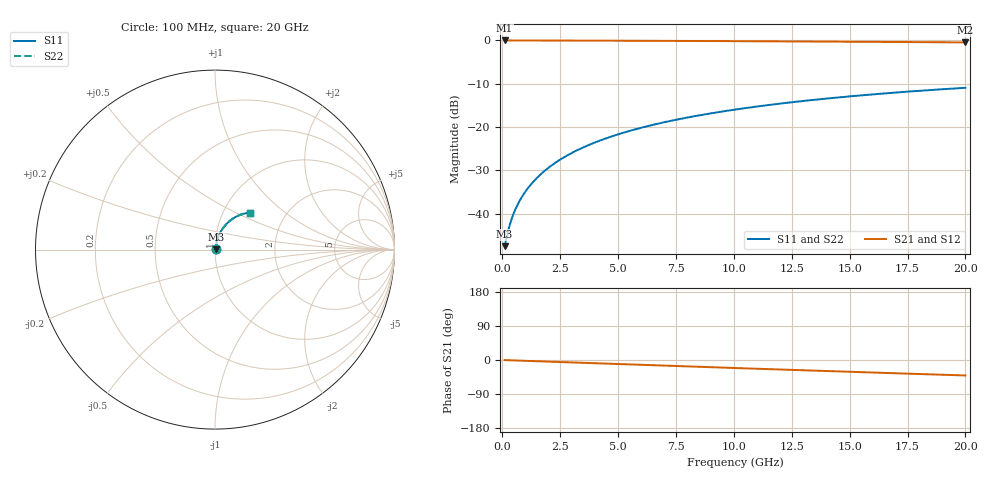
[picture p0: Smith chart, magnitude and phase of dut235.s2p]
! Touchstone file exported from HFSS 2026.1.0
!  File:  C:/ffzhzh/LocalFiles/Ansys_Project_Files/temp_train_TMRDL_235_1782984561_45328.aedt
!  Generated:  05:30:29 PM Jul  2, 2026
!  Design:  TMRDL
!  Project:  temp_train_TMRDL_235_1782984561_45328
! Variables:
!  h_bsmrdl = 2um
!  h_ox = 20um
!  h_rdl = 5um
!  h_sub = 80um
!  h_tmrdl = 2.71um
!  h_tsv = 80um
!  h_via = 3um
!  l_bsmrdl = 300um
!  l_sub = 1043.27um
!  l_tmrdl = 643.27um
!  m_sub = 200um
!  pitch = 39.96um
!  r_tsv = 6um
!  s_tmrdl = 10um
!  w_bsmrdl = 18um
!  w_sub = 500um
!  w_tmrdl = 24.44um
!  x_tsv_center1 = 655.49um
!  x_tsv_center2 = 973.49um
!  x_tsv_center3 = 1641.2um
!  x_tsv_center4 = 1959.2um
!  x_tsv_center5 = 2626.91um
!  x_tsv_center6 = 2944.91um
# GHz S MA R 50.000000
! Terminal data exported
! Port[1] = TM_RDL1_1_T1
! Port[2] = TM_RDL1_1_T2
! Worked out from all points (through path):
!   200 points, 100 MHz to 20 GHz, reference 50 ohm
!   highest |S21| = -0.03 dB at 100 MHz (marker M1); lowest = -0.5 dB at 20 GHz (marker M2)
!   group delay of S21, straight-line fit = 5.67 ps
!   lowest |S11| = -47.5 dB at 100 MHz (marker M3), VSWR 1.01, Z = 50.4 + j0.201 ohm
!   |S11| at or under -10 dB: start of sweep to end of sweep
!   |S22| runs from -47.5 to -11.0 dB; largest |S21 - S12| = 2.6e-15
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0.1  0.004229 28.1  0.9963 -0.2  0.9963 -0.2  0.004229 28.1
! Gamma 0 0 0 0
! Port Impedance 50 0 50 0
0.2  0.005547 44.8  0.9961 -0.5  0.9961 -0.5  0.005547 44.8
0.3  0.007095 53.7  0.9958 -0.7  0.9958 -0.7  0.007095 53.7
0.4  0.008676 58.9  0.9956 -0.9  0.9956 -0.9  0.008676 58.9
0.5  0.01025 62.5  0.9954 -1.1  0.9954 -1.1  0.01024 62.5
0.6  0.0118 65.1  0.9952 -1.3  0.9952 -1.3  0.0118 65.1
0.8  0.0149 68.9  0.995 -1.8  0.995 -1.8  0.0149 68.9
1  0.01803 71.4  0.9948 -2.2  0.9948 -2.2  0.01803 71.4
1.2  0.02118 73.2  0.9946 -2.6  0.9946 -2.6  0.02118 73.2
1.7  0.02917 75.7  0.9942 -3.7  0.9942 -3.7  0.02917 75.7
2.2  0.03725 76.7  0.9938 -4.7  0.9938 -4.7  0.03725 76.7
2.8  0.04697 77.0  0.9932 -6.0  0.9932 -6.0  0.04697 77.0
3.5  0.05831 76.6  0.9924 -7.5  0.9924 -7.5  0.05831 76.6
4.2  0.06958 75.9  0.9914 -9.0  0.9914 -9.0  0.06958 75.9
5  0.08236 74.8  0.9901 -10.7  0.9901 -10.7  0.08236 74.8
5.9  0.09656 73.3  0.9884 -12.6  0.9884 -12.6  0.09656 73.3
6.8  0.1105 71.7  0.9865 -14.4  0.9865 -14.4  0.1105 71.7
8.3  0.1333 68.9  0.9829 -17.6  0.9829 -17.6  0.1333 68.9
10.1  0.1597 65.5  0.9781 -21.3  0.9781 -21.3  0.1597 65.5
13.4  0.2051 59.1  0.9682 -27.9  0.9682 -27.9  0.2051 59.2
16.7  0.2464 52.9  0.9574 -34.4  0.9574 -34.4  0.2464 52.9
20  0.2834 46.7  0.9463 -40.8  0.9463 -40.8  0.2834 46.7
